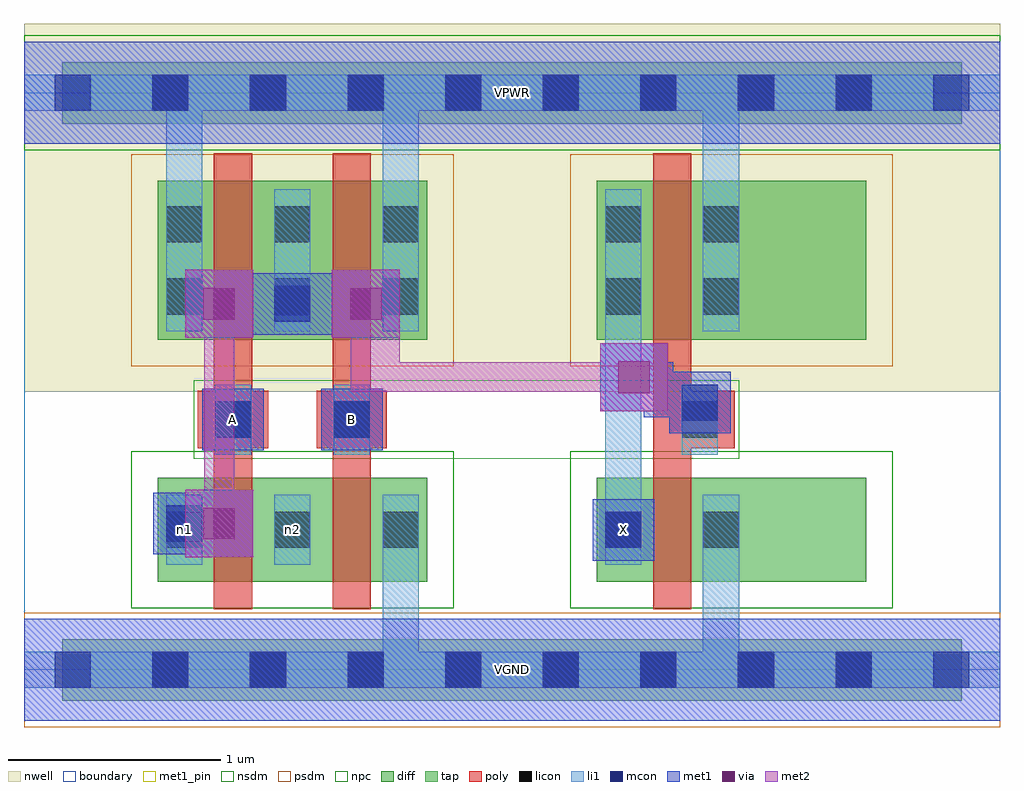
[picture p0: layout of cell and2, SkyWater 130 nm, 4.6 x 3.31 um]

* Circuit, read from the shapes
.subckt and2 A B VGND VPWR X n1 n2
XM1 n2 A n1 VGND sky130_fd_pr__nfet_01v8 w=0.49 l=0.18
XM2 VGND B n2 VGND sky130_fd_pr__nfet_01v8 w=0.49 l=0.18
XM3 VGND n1 X VGND sky130_fd_pr__nfet_01v8 w=0.49 l=0.18
XM4 n1 A VPWR VPWR sky130_fd_pr__pfet_01v8 w=0.75 l=0.18
XM5 VPWR B n1 VPWR sky130_fd_pr__pfet_01v8 w=0.75 l=0.18
XM6 VPWR n1 X VPWR sky130_fd_pr__pfet_01v8 w=0.75 l=0.18
.ends

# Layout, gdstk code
import gdstk
lib = gdstk.Library(unit=1e-6, precision=1e-09)
def R(c, l, rs):  # rectangles x0, y0, x1, y1
    for r in rs: c.add(gdstk.rectangle(r[:2], r[2:], *l))
def A(c, l, x, y, w, h, nx, ny, dx, dy):  # array of equal rectangles
    R(c, l, [(x+i*dx, y+j*dy, x+i*dx+w, y+j*dy+h) for i in range(nx) for j in range(ny)])
nwell = (64, 20)
diff = (65, 20)
tap = (65, 44)
poly = (66, 20)
licon = (66, 44)
li1 = (67, 20)
mcon = (67, 44)
met1_pin = (68, 16)
met1 = (68, 20)
via = (68, 44)
met2 = (69, 20)
nsdm = (93, 44)
psdm = (94, 20)
npc = (95, 20)
boundary = (235, 4)

and2 = lib.new_cell('and2')
R(and2, nwell, [(0,1.31,4.6,3.045)])
R(and2, diff, [(0.63,0.415,1.9,0.905), (2.7,0.415,3.97,0.905), (0.63,1.555,1.9,2.305), (2.7,1.555,3.97,2.305)])
R(and2, tap, [(0.18,-0.145,4.42,0.145), (0.18,2.575,4.42,2.865)])
R(and2, poly, [(0.895,0.285,1.075,2.435), (1.455,0.285,1.635,2.435), (2.965,0.285,3.145,2.435), (0.82,1.045,1.15,1.315), (1.38,1.045,1.71,1.315), (3.02,1.045,3.35,1.315)])
A(and2, licon, 0.605, -0.085, 0.17, 0.17, 8, 2, 0.46, 2.72)
A(and2, licon, 0.67, 0.575, 0.17, 0.17, 3, 2, 0.51, 1.1)
A(and2, licon, 0.67, 2.015, 0.17, 0.17, 3, 1, 0.51, 0)
R(and2, licon, [(2.74,0.575,2.91,0.745), (3.2,0.575,3.37,0.745), (0.9,1.095,1.07,1.265), (1.46,1.095,1.63,1.265), (3.1,1.095,3.27,1.265), (2.74,1.675,2.91,1.845), (3.2,1.675,3.37,1.845), (2.74,2.015,2.91,2.185), (3.2,2.015,3.37,2.185)])
A(and2, li1, 0.67, 0.495, 0.17, 0.33, 3, 1, 0.51, 0)
A(and2, li1, 0.67, 1.595, 0.17, 0.67, 3, 1, 0.51, 0)
R(and2, li1, [(0,-0.085,4.6,0.085), (1.69,-0.085,1.86,0.825), (3.2,-0.085,3.37,0.825), (2.74,0.495,2.91,0.825), (2.74,0.495,2.91,2.265), (3.2,0.495,3.37,0.825), (0.9,1.015,1.07,1.345), (1.46,1.015,1.63,1.345), (3.1,1.015,3.27,1.345), (0.67,1.595,0.84,2.805), (1.69,1.595,1.86,2.805), (2.74,1.595,2.91,2.265), (3.2,1.595,3.37,2.265), (3.2,1.595,3.37,2.805), (0,2.635,4.6,2.805)])
A(and2, mcon, 0.145, -0.085, 0.17, 0.17, 10, 2, 0.46, 2.72)
R(and2, mcon, [(2.74,0.575,2.91,0.745), (0.67,0.605,0.84,0.775), (0.9,1.095,1.07,1.265), (1.46,1.095,1.63,1.265), (3.1,1.175,3.27,1.345), (1.18,1.64,1.35,1.81)])
R(and2, met1_pin, [(0,-0.24,4.6,0.24), (2.68,0.515,2.97,0.805), (0.84,1.035,1.13,1.325), (1.4,1.035,1.69,1.325), (0,2.48,4.6,2.96)])
R(and2, met1, [(0,-0.24,4.6,0.24), (2.68,0.515,2.97,0.805), (0.76,0.53,1.08,0.85), (0.61,0.545,0.9,0.835), (0.685,0.62,0.99,0.76), (0.84,1.035,1.13,1.325), (1.4,1.035,1.69,1.325), (3.04,1.115,3.33,1.405), (2.92,1.19,3.255,1.33), (2.92,1.19,3.06,1.45), (2.715,1.22,3.035,1.54), (2.805,1.31,3.06,1.45), (0.76,1.565,1.08,1.885), (1.45,1.565,1.77,1.885), (1.08,1.58,1.12,1.87), (1.12,1.58,1.41,1.87), (1.41,1.58,1.45,1.87), (0.85,1.655,1.335,1.795), (1.195,1.655,1.68,1.795), (0,2.48,4.6,2.96)])
R(and2, via, [(0.845,0.615,0.995,0.765), (2.8,1.305,2.95,1.455), (0.845,1.65,0.995,1.8), (1.535,1.65,1.685,1.8)])
R(and2, met2, [(0.76,0.53,1.08,0.85), (0.85,0.62,0.99,1.795), (2.715,1.22,3.035,1.54), (1.54,1.31,1.68,1.795), (1.54,1.31,2.945,1.45), (1.54,1.45,1.77,1.565), (0.76,1.565,1.08,1.885), (1.45,1.565,1.77,1.885)])
R(and2, nsdm, [(0.505,0.29,2.025,1.03), (2.575,0.29,4.095,1.03), (0,2.45,4.6,2.99)])
R(and2, psdm, [(0,-0.27,4.6,0.27), (0.505,1.43,2.025,2.43), (2.575,1.43,4.095,2.43)])
R(and2, npc, [(0.8,0.995,3.37,1.365)])
R(and2, boundary, [(0,0,4.6,2.72)])
and2.add(gdstk.Label('n1', (0.755,0.66), layer=67, texttype=5))
and2.add(gdstk.Label('n2', (1.265,0.66), layer=67, texttype=5))
and2.add(gdstk.Label('A', (0.985,1.18), layer=68, texttype=5))
and2.add(gdstk.Label('B', (1.545,1.18), layer=68, texttype=5))
and2.add(gdstk.Label('X', (2.825,0.66), layer=68, texttype=5))
and2.add(gdstk.Label('VPWR', (2.3,2.72), layer=68, texttype=5))
and2.add(gdstk.Label('VGND', (2.3,0), layer=68, texttype=5))
and2.add(gdstk.Label('A', (0.985,1.18), layer=68, texttype=16))
and2.add(gdstk.Label('B', (1.545,1.18), layer=68, texttype=16))
and2.add(gdstk.Label('X', (2.825,0.66), layer=68, texttype=16))
and2.add(gdstk.Label('VPWR', (2.3,2.72), layer=68, texttype=16))
and2.add(gdstk.Label('VGND', (2.3,0), layer=68, texttype=16))

lib.write_gds('and2.gds')
